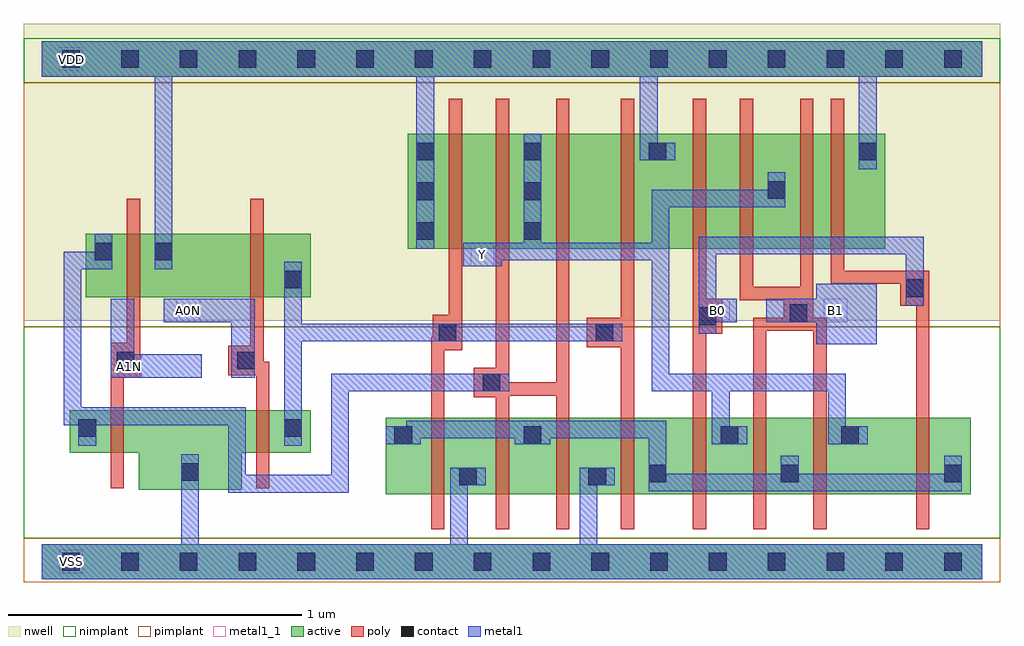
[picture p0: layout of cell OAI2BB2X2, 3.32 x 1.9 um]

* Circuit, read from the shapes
.subckt OAI2BB2X2 A0N A1N B0 B1 VDD VSS Y
M1 VSS A1N n1 VSS nfet w=0.145u l=0.045u
M2 n2 A0N VSS VSS nfet w=0.145u l=0.045u
M3 VSS n2 n3 VSS nfet w=0.26u l=0.045u m=2
M4 n3 n1 VSS VSS nfet w=0.26u l=0.045u m=2
M5 Y B0 n3 VSS nfet w=0.26u l=0.045u m=2
M6 n3 B1 Y VSS nfet w=0.26u l=0.045u m=2
M7 VDD A1N n1 VDD pfet w=0.215u l=0.045u
M8 n2 A0N VDD VDD pfet w=0.215u l=0.045u
M9 n4 n2 VDD VDD pfet w=0.39u l=0.045u
M10 Y n1 n4 VDD pfet w=0.39u l=0.045u
M11 n5 n1 Y VDD pfet w=0.39u l=0.045u
M12 VDD n2 n5 VDD pfet w=0.39u l=0.045u
M13 n6 B0 VDD VDD pfet w=0.39u l=0.045u
M14 Y B1 n6 VDD pfet w=0.39u l=0.045u
M15 n7 B1 Y VDD pfet w=0.39u l=0.045u
M16 VDD B0 n7 VDD pfet w=0.39u l=0.045u
.ends

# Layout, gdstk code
import gdstk
lib = gdstk.Library(unit=1e-6, precision=5e-10)
def R(c, l, rs):  # rectangles x0, y0, x1, y1
    for r in rs: c.add(gdstk.rectangle(r[:2], r[2:], *l))
def A(c, l, x, y, w, h, nx, ny, dx, dy):  # array of equal rectangles
    R(c, l, [(x+i*dx, y+j*dy, x+i*dx+w, y+j*dy+h) for i in range(nx) for j in range(ny)])
def P(c, l, *ps):  # polygons
    for p in ps: c.add(gdstk.Polygon(p, *l))
active = (1, 0)
nwell = (2, 0)
poly = (3, 0)
nimplant = (4, 0)
pimplant = (5, 0)
contact = (6, 0)
metal1 = (7, 0)
metal1_1 = (7, 1)

oai2bb2x2 = lib.new_cell('OAI2BB2X2')
R(oai2bb2x2, active, [(0,-0.06,3.2,0.06), (1.17,0.23,3.16,0.49), (0.15,0.9,0.915,1.115), (1.245,1.065,2.87,1.455), (0,1.65,3.2,1.77)])
P(oai2bb2x2, active, [(0.095,0.515),(0.915,0.515),(0.915,0.37),(0.68,0.37),(0.68,0.245),(0.33,0.245),(0.33,0.37),(0.095,0.37)])
R(oai2bb2x2, nwell, [(-0.06,0.82,3.26,1.83)])
P(oai2bb2x2, poly, [(0.29,1.235),(0.335,1.235),(0.335,0.625),(0.28,0.625),(0.28,0.25),(0.235,0.25),(0.235,0.745),(0.29,0.745)],
  [(0.71,1.235),(0.755,1.235),(0.755,0.68),(0.775,0.68),(0.775,0.25),(0.73,0.25),(0.73,0.635),(0.635,0.635),(0.635,0.735),(0.71,0.735)],
  [(1.385,1.575),(1.43,1.575),(1.43,0.72),(1.37,0.72),(1.37,0.11),(1.325,0.11),(1.325,0.765),(1.33,0.765),(1.33,0.84),(1.385,0.84)],
  [(1.545,1.575),(1.59,1.575),(1.59,0.61),(1.75,0.61),(1.75,1.575),(1.795,1.575),(1.795,0.11),(1.75,0.11),(1.75,0.565),(1.59,0.565),(1.59,0.11),(1.545,0.11),(1.545,0.56),(1.47,0.56),(1.47,0.66),(1.545,0.66)],
  [(1.97,1.575),(2.015,1.575),(2.015,0.11),(1.97,0.11),(1.97,0.73),(1.855,0.73),(1.855,0.83),(1.97,0.83)],
  [(2.215,1.575),(2.26,1.575),(2.26,0.895),(2.315,0.895),(2.315,0.775),(2.26,0.775),(2.26,0.11),(2.215,0.11)],
  [(2.375,1.575),(2.42,1.575),(2.42,0.935),(2.58,0.935),(2.58,1.575),(2.625,1.575),(2.625,0.83),(2.67,0.83),(2.67,0.11),(2.625,0.11),(2.625,0.785),(2.465,0.785),(2.465,0.11),(2.42,0.11),(2.42,0.83),(2.525,0.83),(2.525,0.89),(2.375,0.89)],
  [(2.685,1.575),(2.73,1.575),(2.73,0.99),(3.02,0.99),(3.02,0.11),(2.975,0.11),(2.975,0.87),(2.92,0.87),(2.92,0.945),(2.685,0.945)])
R(oai2bb2x2, nimplant, [(-0.06,0.08,3.26,0.8), (-0.06,1.63,3.26,1.78)])
R(oai2bb2x2, pimplant, [(-0.06,-0.07,3.26,0.08), (-0.06,0.8,3.26,1.63)])
A(oai2bb2x2, contact, 0.07, -0.03, 0.06, 0.06, 16, 2, 0.2, 1.71)
A(oai2bb2x2, contact, 1.275, 1.095, 0.06, 0.06, 1, 3, 0, 0.135)
A(oai2bb2x2, contact, 1.64, 1.095, 0.06, 0.06, 1, 3, 0, 0.135)
R(oai2bb2x2, contact, [(1.42,0.26,1.48,0.32), (1.86,0.26,1.92,0.32), (2.065,0.27,2.125,0.33), (2.515,0.27,2.575,0.33), (3.07,0.27,3.13,0.33), (0.475,0.275,0.535,0.335), (1.2,0.4,1.26,0.46), (1.64,0.4,1.7,0.46), (2.31,0.4,2.37,0.46), (2.72,0.4,2.78,0.46), (0.125,0.425,0.185,0.485), (0.825,0.425,0.885,0.485), (1.5,0.58,1.56,0.64), (0.255,0.655,0.315,0.715), (0.665,0.655,0.725,0.715), (1.35,0.75,1.41,0.81), (1.885,0.75,1.945,0.81), (2.235,0.805,2.295,0.865), (2.545,0.815,2.605,0.875), (2.94,0.9,3,0.96), (0.825,0.93,0.885,0.99), (0.18,1.025,0.24,1.085), (0.385,1.025,0.445,1.085), (2.47,1.235,2.53,1.295), (2.065,1.365,2.125,1.425), (2.78,1.365,2.84,1.425)])
P(oai2bb2x2, metal1, [(0,1.77),(3.2,1.77),(3.2,1.65),(2.84,1.65),(2.84,1.335),(2.78,1.335),(2.78,1.65),(2.095,1.65),(2.095,1.425),(2.155,1.425),(2.155,1.365),(2.035,1.365),(2.035,1.65),(1.335,1.65),(1.335,1.065),(1.275,1.065),(1.275,1.65),(0.445,1.65),(0.445,0.995),(0.385,0.995),(0.385,1.65),(0,1.65)],
  [(0.18,1.115),(0.24,1.115),(0.24,0.995),(0.135,0.995),(0.135,0.525),(0.695,0.525),(0.695,0.295),(0.985,0.295),(0.985,0.64),(1.59,0.64),(1.59,0.58),(1.045,0.58),(1.045,0.235),(0.635,0.235),(0.635,0.465),(0.185,0.465),(0.185,0.395),(0.125,0.395),(0.125,0.465),(0.075,0.465),(0.075,1.055),(0.18,1.055)],
  [(0.825,1.02),(0.885,1.02),(0.885,0.81),(1.975,0.81),(1.975,0.75),(0.885,0.75),(0.885,0.395),(0.825,0.395)],
  [(0.415,0.895),(0.725,0.895),(0.725,0.625),(0.645,0.625),(0.645,0.815),(0.415,0.815)],
  [(0.235,0.895),(0.315,0.895),(0.315,0.705),(0.545,0.705),(0.545,0.625),(0.235,0.625)],
  [(1.64,1.455),(1.7,1.455),(1.7,1.085),(2.075,1.085),(2.075,1.265),(2.47,1.265),(2.47,1.325),(2.53,1.325),(2.53,1.205),(2.135,1.205),(2.135,0.64),(2.735,0.64),(2.735,0.46),(2.81,0.46),(2.81,0.4),(2.675,0.4),(2.675,0.58),(2.34,0.58),(2.34,0.46),(2.4,0.46),(2.4,0.4),(2.28,0.4),(2.28,0.58),(2.075,0.58),(2.075,1.025),(1.565,1.025),(1.565,1.005),(1.435,1.005),(1.435,1.085),(1.64,1.085)],
  [(0.475,0.365),(0.535,0.365),(0.535,0.06),(1.39,0.06),(1.39,0.32),(1.51,0.32),(1.51,0.26),(1.45,0.26),(1.45,0.06),(1.83,0.06),(1.83,0.32),(1.95,0.32),(1.95,0.26),(1.89,0.26),(1.89,0.06),(3.2,0.06),(3.2,-0.06),(0,-0.06),(0,0.06),(0.475,0.06)],
  [(2.235,1.105),(3,1.105),(3,0.87),(2.94,0.87),(2.94,1.045),(2.295,1.045),(2.295,0.895),(2.365,0.895),(2.365,0.815),(2.295,0.815),(2.295,0.775),(2.235,0.775)],
  [(2.635,0.945),(2.84,0.945),(2.84,0.74),(2.635,0.74),(2.635,0.815),(2.465,0.815),(2.465,0.895),(2.635,0.895)],
  [(1.24,0.48),(2.125,0.48),(2.125,0.3),(2.515,0.3),(2.515,0.36),(2.575,0.36),(2.575,0.3),(3.07,0.3),(3.07,0.36),(3.13,0.36),(3.13,0.24),(2.065,0.24),(2.065,0.42),(1.73,0.42),(1.73,0.4),(1.61,0.4),(1.61,0.42),(1.29,0.42),(1.29,0.4),(1.17,0.4),(1.17,0.46),(1.24,0.46)])
R(oai2bb2x2, metal1_1, [(0.06,-0.04,0.14,0.04), (0.26,0.625,0.34,0.705), (0.46,0.815,0.54,0.895), (2.26,0.815,2.34,0.895), (2.66,0.815,2.74,0.895), (1.46,1.005,1.54,1.085), (0.06,1.67,0.14,1.75)])
oai2bb2x2.add(gdstk.Label('Y', (1.5,1.045), layer=7, texttype=1))
oai2bb2x2.add(gdstk.Label('B1', (2.7,0.855), layer=7, texttype=1))
oai2bb2x2.add(gdstk.Label('B0', (2.3,0.855), layer=7, texttype=1))
oai2bb2x2.add(gdstk.Label('A0N', (0.5,0.855), layer=7, texttype=1))
oai2bb2x2.add(gdstk.Label('A1N', (0.3,0.665), layer=7, texttype=1))
oai2bb2x2.add(gdstk.Label('VDD', (0.1,1.71), layer=7, texttype=1))
oai2bb2x2.add(gdstk.Label('VSS', (0.1,0), layer=7, texttype=1))
oai2bb2x2.add(gdstk.Label('OAI2BB2X2', (0,0), layer=63, texttype=0))

lib.write_gds('OAI2BB2X2.gds')
